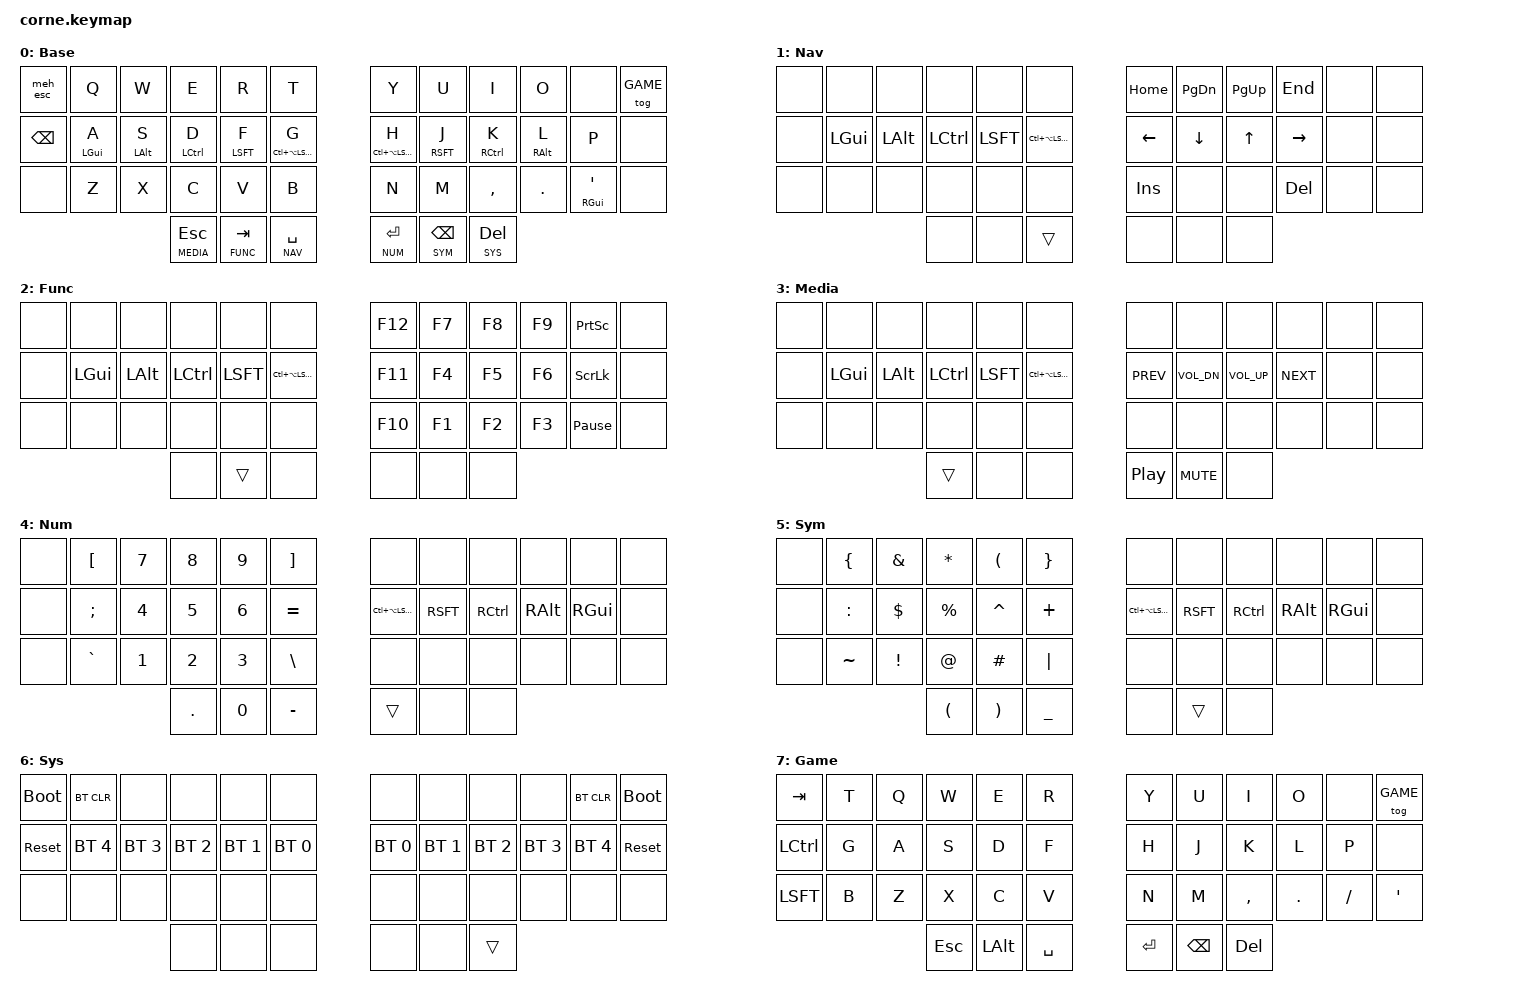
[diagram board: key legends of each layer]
// Corne ZMK Keymap - Miryoku-inspired layout
// Ported from Keebio Iris CE QMK keymap
// Layout: 6 columns x 3 rows + 3 thumb keys per side = 42 keys total

#include <behaviors.dtsi>
#include <dt-bindings/zmk/keys.h>
#include <dt-bindings/zmk/bt.h>
#include <dt-bindings/zmk/outputs.h>

// Layer definitions
#define BASE 0
#define NAV  1
#define FUNC 2
#define MEDIA 3
#define NUM  4
#define SYM  5
#define SYS  6
#define GAME 7

// Meh modifier (Ctrl+Alt+Shift)
#define MEH LC(LA(LSHIFT))

/ {
    behaviors {
        // Home row mods with balanced flavor
        hm: home_row_mods {
            compatible = "zmk,behavior-hold-tap";
            #binding-cells = <2>;
            tapping-term-ms = <200>;
            quick-tap-ms = <100>;
            flavor = "balanced";
            bindings = <&kp>, <&kp>;
        };

        // Layer-tap for thumb cluster
        lt: layer_tap {
            compatible = "zmk,behavior-hold-tap";
            #binding-cells = <2>;
            tapping-term-ms = <200>;
            quick-tap-ms = <100>;
            flavor = "balanced";
            bindings = <&mo>, <&kp>;
        };
    };

    macros {
        // MEH+ESC macro - sends Ctrl+Alt+Shift+Escape
        meh_esc: meh_esc {
            compatible = "zmk,behavior-macro";
            #binding-cells = <0>;
            bindings = <&kp LC(LA(LS(ESC)))>;
        };
    };

    keymap {
        compatible = "zmk,keymap";

        // Layer 0: Base - QWERTY with home row mods
        base_layer {
            display-name = "Base";
            bindings = <
        // ╭──────────┬──────────┬──────────┬──────────┬──────────┬──────────╮   ╭──────────┬──────────┬──────────┬──────────┬──────────┬──────────╮
             &meh_esc   &kp Q      &kp W      &kp E      &kp R      &kp T          &kp Y      &kp U      &kp I      &kp O      &none      &tog GAME
        // ├──────────┼──────────┼──────────┼──────────┼──────────┼──────────┤   ├──────────┼──────────┼──────────┼──────────┼──────────┼──────────┤
             &kp BSPC   &hm LGUI A &hm LALT S &hm LCTL D &hm LSFT F &hm MEH G      &hm MEH H  &hm RSFT J &hm RCTL K &hm RALT L &kp P      &none
        // ├──────────┼──────────┼──────────┼──────────┼──────────┼──────────┤   ├──────────┼──────────┼──────────┼──────────┼──────────┼──────────┤
             &none      &kp Z      &kp X      &kp C      &kp V      &kp B          &kp N      &kp M      &kp COMMA  &kp DOT    &hm RGUI SQT &none
        // ╰──────────┴──────────┴──────────┼──────────┼──────────┼──────────┤   ├──────────┼──────────┼──────────┼──────────┴──────────┴──────────╯
                                              &lt MEDIA ESC &lt FUNC TAB &lt NAV SPACE   &lt NUM RET &lt SYM BSPC &lt SYS DEL
        //                                  ╰──────────┴──────────┴──────────╯   ╰──────────┴──────────┴──────────╯
            >;
        };

        // Layer 1: Navigation - accessed via left Space hold
        nav_layer {
            display-name = "Nav";
            bindings = <
        // ╭──────────┬──────────┬──────────┬──────────┬──────────┬──────────╮   ╭──────────┬──────────┬──────────┬──────────┬──────────┬──────────╮
             &none      &none      &none      &none      &none      &none          &kp HOME   &kp PG_DN  &kp PG_UP  &kp END    &none      &none
        // ├──────────┼──────────┼──────────┼──────────┼──────────┼──────────┤   ├──────────┼──────────┼──────────┼──────────┼──────────┼──────────┤
             &none      &kp LGUI   &kp LALT   &kp LCTL   &kp LSFT   &kp MEH        &kp LEFT   &kp DOWN   &kp UP     &kp RIGHT  &none      &none
        // ├──────────┼──────────┼──────────┼──────────┼──────────┼──────────┤   ├──────────┼──────────┼──────────┼──────────┼──────────┼──────────┤
             &none      &none      &none      &none      &none      &none          &kp INS    &none      &none      &kp DEL    &none      &none
        // ╰──────────┴──────────┴──────────┼──────────┼──────────┼──────────┤   ├──────────┼──────────┼──────────┼──────────┴──────────┴──────────╯
                                              &none      &none      &trans         &none      &none      &none
        //                                  ╰──────────┴──────────┴──────────╯   ╰──────────┴──────────┴──────────╯
            >;
        };

        // Layer 2: Function keys - accessed via left Tab hold
        func_layer {
            display-name = "Func";
            bindings = <
        // ╭──────────┬──────────┬──────────┬──────────┬──────────┬──────────╮   ╭──────────┬──────────┬──────────┬──────────┬──────────┬──────────╮
             &none      &none      &none      &none      &none      &none          &kp F12    &kp F7     &kp F8     &kp F9     &kp PSCRN  &none
        // ├──────────┼──────────┼──────────┼──────────┼──────────┼──────────┤   ├──────────┼──────────┼──────────┼──────────┼──────────┼──────────┤
             &none      &kp LGUI   &kp LALT   &kp LCTL   &kp LSFT   &kp MEH        &kp F11    &kp F4     &kp F5     &kp F6     &kp SLCK   &none
        // ├──────────┼──────────┼──────────┼──────────┼──────────┼──────────┤   ├──────────┼──────────┼──────────┼──────────┼──────────┼──────────┤
             &none      &none      &none      &none      &none      &none          &kp F10    &kp F1     &kp F2     &kp F3     &kp PAUSE_BREAK &none
        // ╰──────────┴──────────┴──────────┼──────────┼──────────┼──────────┤   ├──────────┼──────────┼──────────┼──────────┴──────────┴──────────╯
                                              &none      &trans     &none          &none      &none      &none
        //                                  ╰──────────┴──────────┴──────────╯   ╰──────────┴──────────┴──────────╯
            >;
        };

        // Layer 3: Media - accessed via left Esc hold
        media_layer {
            display-name = "Media";
            bindings = <
        // ╭──────────┬──────────┬──────────┬──────────┬──────────┬──────────╮   ╭──────────┬──────────┬──────────┬──────────┬──────────┬──────────╮
             &none      &none      &none      &none      &none      &none          &none      &none      &none      &none      &none      &none
        // ├──────────┼──────────┼──────────┼──────────┼──────────┼──────────┤   ├──────────┼──────────┼──────────┼──────────┼──────────┼──────────┤
             &none      &kp LGUI   &kp LALT   &kp LCTL   &kp LSFT   &kp MEH        &kp C_PREV &kp C_VOL_DN &kp C_VOL_UP &kp C_NEXT &none   &none
        // ├──────────┼──────────┼──────────┼──────────┼──────────┼──────────┤   ├──────────┼──────────┼──────────┼──────────┼──────────┼──────────┤
             &none      &none      &none      &none      &none      &none          &none      &none      &none      &none      &none      &none
        // ╰──────────┴──────────┴──────────┼──────────┼──────────┼──────────┤   ├──────────┼──────────┼──────────┼──────────┴──────────┴──────────╯
                                              &trans     &none      &none          &kp C_PP   &kp C_MUTE &none
        //                                  ╰──────────┴──────────┴──────────╯   ╰──────────┴──────────┴──────────╯
            >;
        };

        // Layer 4: Numbers - accessed via right Enter hold
        num_layer {
            display-name = "Num";
            bindings = <
        // ╭──────────┬──────────┬──────────┬──────────┬──────────┬──────────╮   ╭──────────┬──────────┬──────────┬──────────┬──────────┬──────────╮
             &none      &kp LBKT   &kp N7     &kp N8     &kp N9     &kp RBKT       &none      &none      &none      &none      &none      &none
        // ├──────────┼──────────┼──────────┼──────────┼──────────┼──────────┤   ├──────────┼──────────┼──────────┼──────────┼──────────┼──────────┤
             &none      &kp SEMI   &kp N4     &kp N5     &kp N6     &kp EQUAL      &kp MEH    &kp RSFT   &kp RCTL   &kp RALT   &kp RGUI   &none
        // ├──────────┼──────────┼──────────┼──────────┼──────────┼──────────┤   ├──────────┼──────────┼──────────┼──────────┼──────────┼──────────┤
             &none      &kp GRAVE  &kp N1     &kp N2     &kp N3     &kp BSLH       &none      &none      &none      &none      &none      &none
        // ╰──────────┴──────────┴──────────┼──────────┼──────────┼──────────┤   ├──────────┼──────────┼──────────┼──────────┴──────────┴──────────╯
                                              &kp DOT    &kp N0     &kp MINUS      &trans     &none      &none
        //                                  ╰──────────┴──────────┴──────────╯   ╰──────────┴──────────┴──────────╯
            >;
        };

        // Layer 5: Symbols - accessed via right Bspc hold
        sym_layer {
            display-name = "Sym";
            bindings = <
        // ╭──────────┬──────────┬──────────┬──────────┬──────────┬──────────╮   ╭──────────┬──────────┬──────────┬──────────┬──────────┬──────────╮
             &none      &kp LBRC   &kp AMPS   &kp ASTRK  &kp LPAR   &kp RBRC       &none      &none      &none      &none      &none      &none
        // ├──────────┼──────────┼──────────┼──────────┼──────────┼──────────┤   ├──────────┼──────────┼──────────┼──────────┼──────────┼──────────┤
             &none      &kp COLON  &kp DLLR   &kp PRCNT  &kp CARET  &kp PLUS       &kp MEH    &kp RSFT   &kp RCTL   &kp RALT   &kp RGUI   &none
        // ├──────────┼──────────┼──────────┼──────────┼──────────┼──────────┤   ├──────────┼──────────┼──────────┼──────────┼──────────┼──────────┤
             &none      &kp TILDE  &kp EXCL   &kp AT     &kp HASH   &kp PIPE       &none      &none      &none      &none      &none      &none
        // ╰──────────┴──────────┴──────────┼──────────┼──────────┼──────────┤   ├──────────┼──────────┼──────────┼──────────┴──────────┴──────────╯
                                              &kp LPAR   &kp RPAR   &kp UNDER      &none      &trans     &none
        //                                  ╰──────────┴──────────┴──────────╯   ╰──────────┴──────────┴──────────╯
            >;
        };

        // Layer 6: System - accessed via right Del hold (mirrored for split safety)
        sys_layer {
            display-name = "Sys";
            bindings = <
        // ╭──────────┬──────────┬──────────┬──────────┬──────────┬──────────╮   ╭──────────┬──────────┬──────────┬──────────┬──────────┬──────────╮
             &bootloader &bt BT_CLR &none     &none      &none      &none          &none      &none      &none      &none      &bt BT_CLR &bootloader
        // ├──────────┼──────────┼──────────┼──────────┼──────────┼──────────┤   ├──────────┼──────────┼──────────┼──────────┼──────────┼──────────┤
             &sys_reset &bt BT_SEL 4 &bt BT_SEL 3 &bt BT_SEL 2 &bt BT_SEL 1 &bt BT_SEL 0   &bt BT_SEL 0 &bt BT_SEL 1 &bt BT_SEL 2 &bt BT_SEL 3 &bt BT_SEL 4 &sys_reset
        // ├──────────┼──────────┼──────────┼──────────┼──────────┼──────────┤   ├──────────┼──────────┼──────────┼──────────┼──────────┼──────────┤
             &none      &none      &none      &none      &none      &none          &none      &none      &none      &none      &none      &none
        // ╰──────────┴──────────┴──────────┼──────────┼──────────┼──────────┤   ├──────────┼──────────┼──────────┼──────────┴──────────┴──────────╯
                                              &none      &none      &none          &none      &none      &trans
        //                                  ╰──────────┴──────────┴──────────╯   ╰──────────┴──────────┴──────────╯
            >;
        };

        // Layer 7: Gaming - toggle layer, no home row mods
        game_layer {
            display-name = "Game";
            bindings = <
        // ╭──────────┬──────────┬──────────┬──────────┬──────────┬──────────╮   ╭──────────┬──────────┬──────────┬──────────┬──────────┬──────────╮
             &kp TAB    &kp T      &kp Q      &kp W      &kp E      &kp R          &kp Y      &kp U      &kp I      &kp O      &none      &tog GAME
        // ├──────────┼──────────┼──────────┼──────────┼──────────┼──────────┤   ├──────────┼──────────┼──────────┼──────────┼──────────┼──────────┤
             &kp LCTL   &kp G      &kp A      &kp S      &kp D      &kp F          &kp H      &kp J      &kp K      &kp L      &kp P      &none
        // ├──────────┼──────────┼──────────┼──────────┼──────────┼──────────┤   ├──────────┼──────────┼──────────┼──────────┼──────────┼──────────┤
             &kp LSFT   &kp B      &kp Z      &kp X      &kp C      &kp V          &kp N      &kp M      &kp COMMA  &kp DOT    &kp FSLH   &kp SQT
        // ╰──────────┴──────────┴──────────┼──────────┼──────────┼──────────┤   ├──────────┼──────────┼──────────┼──────────┴──────────┴──────────╯
                                              &kp ESC    &kp LALT   &kp SPACE      &kp RET    &kp BSPC   &kp DEL
        //                                  ╰──────────┴──────────┴──────────╯   ╰──────────┴──────────┴──────────╯
            >;
        };
    };
};
